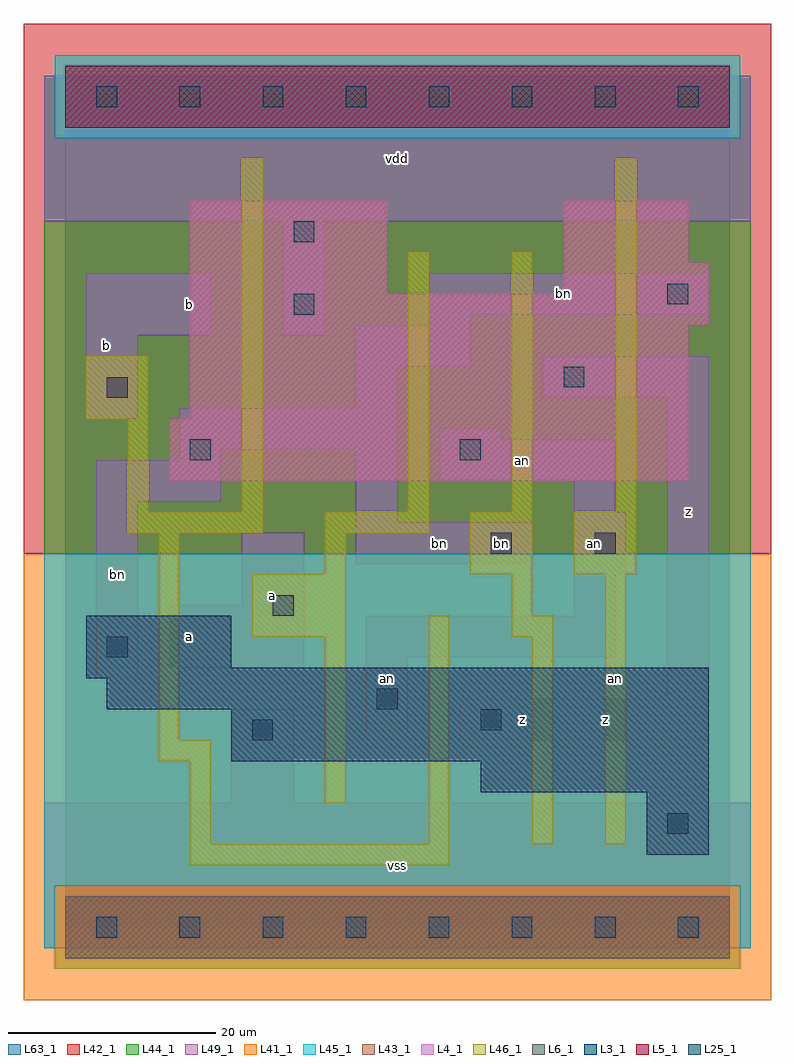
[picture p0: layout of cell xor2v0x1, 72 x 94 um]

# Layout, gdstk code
import gdstk
lib = gdstk.Library(unit=1e-6, precision=1e-09)
def R(c, l, rs):  # rectangles x0, y0, x1, y1
    for r in rs: c.add(gdstk.rectangle(r[:2], r[2:], *l))
def A(c, l, x, y, w, h, nx, ny, dx, dy):  # array of equal rectangles
    R(c, l, [(x+i*dx, y+j*dy, x+i*dx+w, y+j*dy+h) for i in range(nx) for j in range(ny)])
L3_1 = (3, 1)
L4_1 = (4, 1)
L5_1 = (5, 1)
L6_1 = (6, 1)
L25_1 = (25, 1)
L41_1 = (41, 1)
L42_1 = (42, 1)
L43_1 = (43, 1)
L44_1 = (44, 1)
L45_1 = (45, 1)
L46_1 = (46, 1)
L49_1 = (49, 1)
L63_1 = (63, 1)

xor2v0x1 = lib.new_cell('xor2v0x1')
R(xor2v0x1, L3_1, [(56,7,62,13), (40,13,62,16), (16,16,62,21), (4,21,62,24), (2,24,62,25), (2,25,16,30)])
R(xor2v0x1, L4_1, [(10,43,60,49), (12,49,60,58), (12,58,62,61), (12,61,31,70), (48,61,62,64), (48,64,60,70)])
R(xor2v0x1, L5_1, [(0,77,64,83)])
R(xor2v0x1, L6_1, [(0,-3,64,3), (0,-3,64,3)])
A(xor2v0x1, L25_1, 3, -1, 2, 2, 8, 2, 8, 80)
R(xor2v0x1, L25_1, [(58,9,60,11), (18,18,20,20), (40,19,42,21), (30,21,32,23), (4,26,6,28), (20,30,22,32), (41,36,43,38), (51,36,53,38), (12,45,14,47), (38,45,40,47), (4,51,6,53), (48,52,50,54), (22,59,24,61), (58,60,60,62), (22,66,24,68)])
R(xor2v0x1, L41_1, [(-4,-7,68,36)])
R(xor2v0x1, L42_1, [(-4,36,68,87)])
R(xor2v0x1, L43_1, [(0,-3,64,3), (56,7,62,13), (40,13,62,16), (16,16,62,21), (4,21,62,24), (2,24,62,25), (2,25,16,30), (10,43,60,49), (12,49,60,58), (12,58,62,61), (12,61,31,70), (48,61,62,64), (48,64,60,70), (0,77,64,83)])
R(xor2v0x1, L44_1, [(-1,-4,65,4), (-2,36,66,76), (-2,76,-1,82), (65,76,66,82)])
R(xor2v0x1, L45_1, [(-2,-2,-1,4), (65,-2,66,4), (-2,4,66,36), (-1,76,65,84)])
R(xor2v0x1, L46_1, [(12,6,37,8), (12,8,14,16), (35,8,37,30), (45,8,47,28), (52,8,54,34), (25,12,27,28), (9,16,14,18), (9,18,11,38), (18,28,27,34), (43,28,47,30), (43,30,45,34), (25,34,27,38), (39,34,45,40), (49,34,55,40), (6,38,19,40), (25,38,35,40), (6,40,8,49), (17,40,19,74), (33,40,35,65), (43,40,45,65), (53,40,55,74), (2,49,8,55)])
R(xor2v0x1, L49_1, [(-2,-2,66,12), (16,12,22,21), (38,18,62,22), (29,19,33,26), (58,22,62,51), (3,24,7,41), (10,25,23,31), (29,26,53,30), (49,30,53,34), (17,31,23,38), (49,34,54,40), (28,35,45,39), (28,39,32,46), (49,40,53,43), (3,41,15,45), (36,43,53,47), (11,45,15,46), (11,46,32,50), (36,47,42,48), (2,49,7,57), (28,50,32,54), (46,51,62,55), (28,54,39,58), (2,57,14,63), (21,57,25,68), (35,58,39,59), (35,59,62,63), (-2,68,66,82)])
R(xor2v0x1, L63_1, [(0,0,64,80)])
xor2v0x1.add(gdstk.Label('bn', (42,37), layer=49, texttype=1))
xor2v0x1.add(gdstk.Label('an', (53,24), layer=46, texttype=1))
xor2v0x1.add(gdstk.Label('bn', (5,34), layer=49, texttype=1))
xor2v0x1.add(gdstk.Label('b', (4,56), layer=49, texttype=1))
xor2v0x1.add(gdstk.Label('a', (12,28), layer=49, texttype=1))
xor2v0x1.add(gdstk.Label('a', (20,32), layer=49, texttype=1))
xor2v0x1.add(gdstk.Label('b', (12,60), layer=49, texttype=1))
xor2v0x1.add(gdstk.Label('vss', (32,6), layer=49, texttype=1))
xor2v0x1.add(gdstk.Label('an', (31,24), layer=49, texttype=1))
xor2v0x1.add(gdstk.Label('vdd', (32,74), layer=49, texttype=1))
xor2v0x1.add(gdstk.Label('z', (44,20), layer=49, texttype=1))
xor2v0x1.add(gdstk.Label('bn', (36,37), layer=49, texttype=1))
xor2v0x1.add(gdstk.Label('z', (52,20), layer=49, texttype=1))
xor2v0x1.add(gdstk.Label('an', (51,37), layer=49, texttype=1))
xor2v0x1.add(gdstk.Label('an', (44,45), layer=49, texttype=1))
xor2v0x1.add(gdstk.Label('z', (60,40), layer=49, texttype=1))
xor2v0x1.add(gdstk.Label('bn', (48,61), layer=49, texttype=1))

lib.write_gds('xor2v0x1.gds')
